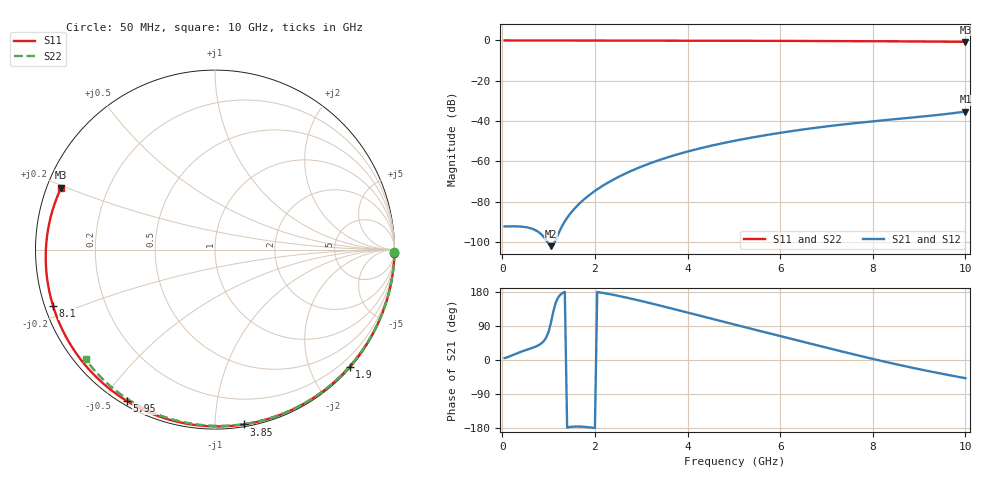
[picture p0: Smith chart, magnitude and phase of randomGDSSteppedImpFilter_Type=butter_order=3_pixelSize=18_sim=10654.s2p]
! freq	dB(S11)	phase(S11)	dB(S12)	phase(S12)
!  dB(S21)	phase(S21)	dB(S22)	phase(S22)
!S-par simulation data
#  GHz  S  DB  R 50
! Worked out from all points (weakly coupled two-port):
!   200 points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, 50 MHz to 10 GHz, reference 50 ohm
!   highest |S21| = -35.29 dB at 10 GHz (marker M1); lowest = -102.1 dB at 1.05 GHz (marker M2)
!   lowest |S11| = -0.7 dB at 10 GHz (marker M3), VSWR 25.20, Z = 2.06 + j9.7 ohm
!   |S11| at or under -10 dB: nowhere
!   |S22| runs from -0.5 to 0.0 dB; largest |S21 - S12| = 0
!   S11 on the Smith chart (normalised r, x): 50 MHz: open; 1.9 GHz: 0.02, -2.68; 3.85 GHz: 0.02, -1.18; 5.95 GHz: 0.02, -0.57; 8.1 GHz: 0.02, -0.17; 10 GHz: 0.04, +0.19
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0.05  -0.00 -1.1  -92.26 5.2  -92.26 5.2  -0.00 -0.8
0.55  -0.01 -12.1  -92.82 27.8  -92.82 27.8  -0.01 -8.9
1.05  -0.03 -22.9  -102.08 98.1  -102.08 98.1  -0.02 -16.8
1.7  -0.05 -36.8  -80.19 -175.8  -80.19 -175.8  -0.03 -27.1
1.75  -0.05 -37.8  -79.16 -176.2  -79.16 -176.2  -0.04 -27.9
1.9  -0.05 -41.0  -76.35 -178.0  -76.35 -178.0  -0.04 -30.2
2.2  -0.06 -47.3  -71.67 176.5  -71.67 176.5  -0.05 -34.9
2.55  -0.07 -54.5  -67.25 168.2  -67.25 168.2  -0.05 -40.2
2.95  -0.08 -62.6  -63.11 157.2  -63.11 157.2  -0.06 -46.3
3.4  -0.10 -71.6  -59.27 143.8  -59.27 143.8  -0.07 -53.0
3.85  -0.11 -80.5  -56.08 129.9  -56.08 129.9  -0.08 -59.6
4.45  -0.13 -92.1  -52.55 111.1  -52.55 111.1  -0.10 -68.2
5.05  -0.16 -103.4  -49.63 92.5  -49.63 92.5  -0.12 -76.6
5.95  -0.21 -120.2  -46.01 64.7  -46.01 64.7  -0.15 -88.8
6.7  -0.27 -134.1  -43.53 41.7  -43.53 41.7  -0.19 -98.7
7.4  -0.33 -147.3  -41.58 20.5  -41.58 20.5  -0.23 -107.6
8.1  -0.40 -160.8  -39.91 0.0  -39.91 0.0  -0.29 -116.4
8.35  -0.43 -165.8  -39.35 -7.0  -39.35 -7.0  -0.31 -119.5
8.8  -0.48 -175.0  -38.37 -19.1  -38.37 -19.1  -0.35 -125.1
9.2  -0.54 176.5  -37.46 -29.2  -37.46 -29.2  -0.39 -130.0
9.6  -0.61 167.5  -36.46 -38.8  -36.46 -38.8  -0.44 -134.8
10  -0.69 158.0  -35.29 -48.0  -35.29 -48.0  -0.49 -139.7
